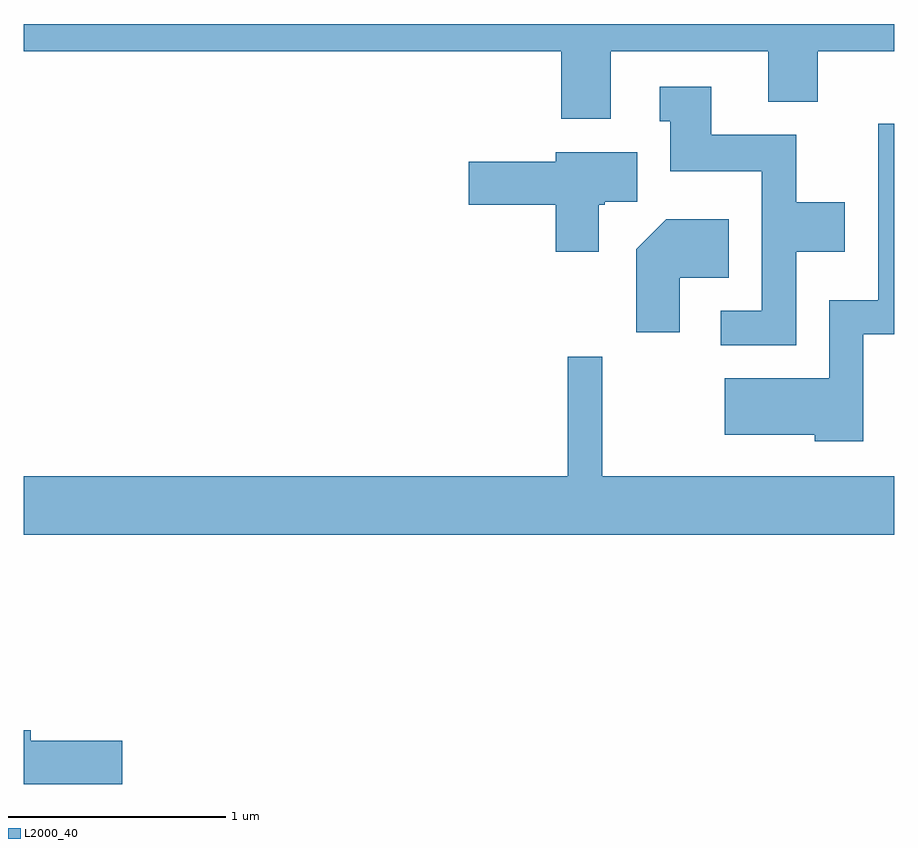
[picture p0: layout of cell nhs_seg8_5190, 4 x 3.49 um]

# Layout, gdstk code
import gdstk
lib = gdstk.Library(unit=1e-6, precision=1e-09)
def P(c, l, *ps):  # polygons
    for p in ps: c.add(gdstk.Polygon(p, *l))
L2000_40 = (2000, 40)

nhs_seg8_5190 = lib.new_cell('nhs_seg8_5190')
P(nhs_seg8_5190, L2000_40, [(344.309,1814.216),(345.031,1814.216),(345.031,1813.986),(345.259,1813.986),(345.259,1814.216),(345.611,1814.216),(345.611,1814.342),(341.611,1814.342),(341.611,1814.216),(344.081,1814.216),(344.081,1813.906),(344.309,1813.906)],
  [(345.159,1813.296),(345.384,1813.296),(345.384,1813.524),(345.159,1813.524),(345.159,1813.834),(344.769,1813.834),(344.769,1814.054),(344.533,1814.054),(344.533,1813.896),(344.581,1813.896),(344.581,1813.666),(345.001,1813.666),(345.001,1813.024),(344.813,1813.024),(344.813,1812.866),(345.159,1812.866)],
  [(345.469,1812.916),(345.611,1812.916),(345.611,1813.884),(345.536,1813.884),(345.536,1813.074),(345.311,1813.074),(345.311,1812.714),(344.831,1812.714),(344.831,1812.456),(345.246,1812.456),(345.246,1812.426),(345.469,1812.426)],
  [(344.254,1813.511),(344.28,1813.511),(344.28,1813.526),(344.429,1813.526),(344.429,1813.754),(344.056,1813.754),(344.056,1813.709),(343.656,1813.709),(343.656,1813.511),(344.056,1813.511),(344.056,1813.296),(344.254,1813.296)],
  [(344.624,1813.176),(344.849,1813.176),(344.849,1813.444),(344.564,1813.444),(344.426,1813.307),(344.426,1812.926),(344.624,1812.926)],
  [(345.611,1812.264),(344.269,1812.264),(344.269,1812.813),(344.111,1812.813),(344.111,1812.264),(341.611,1812.264),(341.611,1811.996),(345.611,1811.996)],
  [(342.064,1811.049),(341.644,1811.049),(341.644,1811.099),(341.611,1811.099),(341.611,1810.851),(342.064,1810.851)])

lib.write_gds('nhs_seg8_5190.gds')
